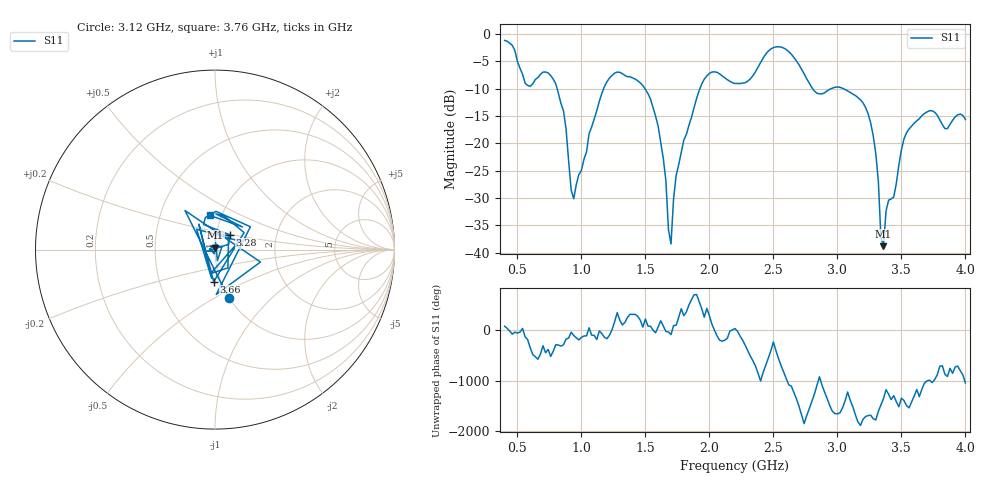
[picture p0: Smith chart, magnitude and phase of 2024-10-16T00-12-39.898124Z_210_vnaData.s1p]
! Created with skrf (http://scikit-rf.org).
# Hz S RI R 50.0
!freq ReS11 ImS11
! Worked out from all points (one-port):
!   181 points, 400 MHz to 4 GHz, reference 50 ohm
!   lowest |S11| = -38.8 dB at 3.36 GHz (marker M1), VSWR 1.02, Z = 50.1 + j1.14 ohm
!   |S11| at or under -10 dB: 810.3 MHz to 1.174 GHz (363.3 MHz wide, 36.6 % of centre); 1.496 GHz to 1.926 GHz (429.6 MHz wide, 25.1 % of centre); 3.047 GHz to end of sweep (the widest 3 of 4)
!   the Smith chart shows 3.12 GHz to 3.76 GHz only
!   S11 on the Smith chart (normalised r, x): 3.12 GHz: 0.99, -0.59; 3.28 GHz: 1.16, +0.19; 3.66 GHz: 0.92, -0.34; 3.76 GHz: 0.88, +0.35
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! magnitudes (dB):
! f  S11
! 400 MHz  -1.2
! 580 MHz  -9.4
! 760 MHz  -7.6
! 860 MHz  -14.1
! 940 MHz  -30.1
! 1.16 GHz  -10.8
! 1.3 GHz  -7.0
! 1.56 GHz  -13.5
! 1.64 GHz  -22.8
! 1.7 GHz  -38.4
! 1.72 GHz  -30.2
! 1.76 GHz  -23.9
! 1.96 GHz  -8.2
! 2.2 GHz  -9.1
! 2.5 GHz  -2.5
! 2.66 GHz  -4.3
! 2.84 GHz  -10.8
! 3.1 GHz  -10.7
! 3.12 GHz  -11.0
! 3.28 GHz  -18.6
! 3.32 GHz  -26.9
! 3.34 GHz  -37.3
! 3.36 GHz  -38.8
! 3.38 GHz  -32.4
! 3.56 GHz  -17.4
! 3.66 GHz  -14.9
! 3.76 GHz  -14.3
! 4 GHz  -15.6
